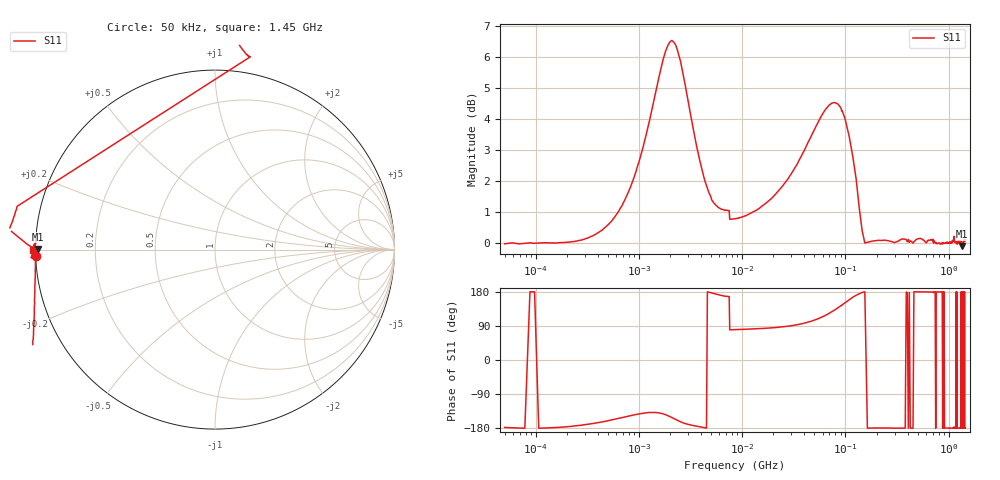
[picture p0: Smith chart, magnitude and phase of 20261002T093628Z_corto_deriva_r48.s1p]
! piloto_deriva / corto_deriva / r48
# HZ S RI R 50
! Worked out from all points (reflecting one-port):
!   501 points, 50 kHz to 1.45 GHz, reference 50 ohm
!   lowest |S11| = -0.1 dB at 1.347 GHz (marker M1), VSWR 167.48, Z = 0.299 + j0.0868 ohm
!   phase of S11 starts at -178 deg and turns -2 deg over the sweep
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50000  -0.9962 -0.0359
183000  -1 -0.0518
363500  -1.004 -0.2246
658000  -1.016 -0.5109
1180000  -1.136 -0.9776
1630000  -1.473 -1.21
1990000  -1.808 -1.08
2170000  -1.899 -0.9103
2440000  -1.897 -0.6428
3070000  -1.63 -0.2702
4330000  -1.262 -0.0309
7300000  -1.102 0.2419
7750000  0.1945 1.074
8560000  0.188 1.078
1.99e7  0.101 1.182
3.16e7  -0.036 1.313
4.69e7  -0.3231 1.454
6.76e7  -0.8611 1.417
7.93e7  -1.139 1.238
9.46e7  -1.362 0.8763
9.82e7  -1.385 0.7841
1e8  -1.391 0.7381
1.18e8  -1.332 0.3379
1.36e8  -1.134 0.1012
1.63e8  -1.002 -0.00386
4.06e8  -1.013 -0.0046
1.3465e9  -0.9881 0.00343
1.45e9  -1.012 -0.0047
